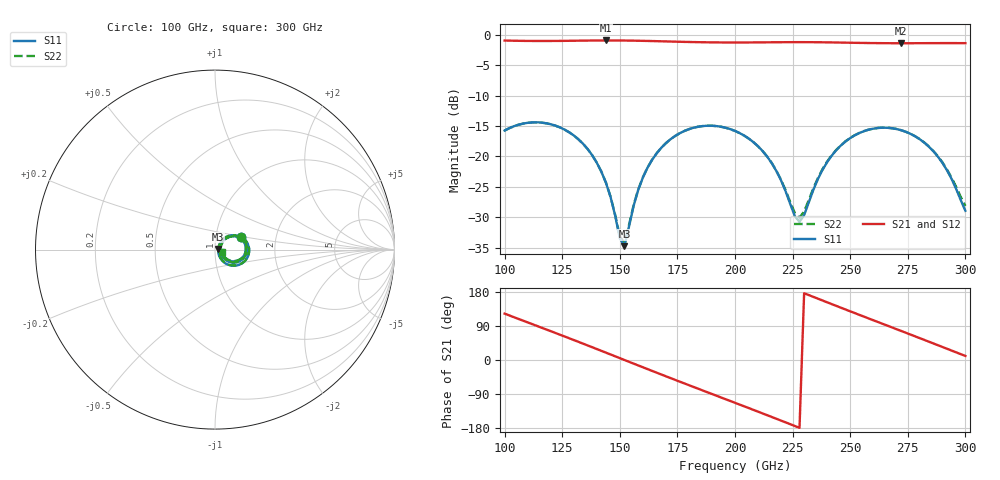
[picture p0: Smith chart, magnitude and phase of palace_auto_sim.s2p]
#  GHZ S DB R 50
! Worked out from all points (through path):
!   101 points, 100 GHz to 300 GHz, reference 50 ohm
!   highest |S21| = -0.93 dB at 144 GHz (marker M1); lowest = -1.4 dB at 272 GHz (marker M2)
!   group delay of S21, straight-line fit = 6.56 ps
!   lowest |S11| = -34.8 dB at 152 GHz (marker M3), VSWR 1.04, Z = 51.8 + j0.317 ohm
!   |S11| at or under -10 dB: start of sweep to end of sweep
!   |S22| runs from -34.2 to -14.4 dB; largest |S21 - S12| = 1e-13
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100  -15.75 25.5  -0.94 122.4  -0.94 122.4  -15.76 25.8
116  -14.44 -7.7  -1.02 85.4  -1.02 85.4  -14.45 -7.3
124  -15.22 -24.4  -1.00 66.8  -1.00 66.8  -15.23 -23.9
134  -17.91 -44.4  -0.96 43.3  -0.96 43.3  -17.91 -43.7
144  -24.36 -58.0  -0.93 19.4  -0.93 19.4  -24.34 -56.7
150  -33.46 -31.7  -0.94 4.9  -0.94 4.9  -33.10 -29.6
152  -34.77 9.6  -0.95 0.1  -0.95 0.1  -34.24 9.5
158  -25.51 53.5  -0.98 -14.3  -0.98 -14.3  -25.44 52.7
168  -18.59 42.2  -1.07 -38.2  -1.07 -38.2  -18.58 42.1
184  -15.12 11.3  -1.21 -75.8  -1.21 -75.8  -15.13 11.6
192  -15.02 -4.4  -1.25 -94.4  -1.25 -94.4  -15.02 -4.0
200  -15.81 -19.6  -1.27 -112.9  -1.27 -112.9  -15.82 -18.9
214  -20.06 -41.9  -1.24 -145.7  -1.24 -145.7  -20.04 -40.5
228  -30.75 2.3  -1.21 -179.0  -1.21 -179.0  -30.05 3.1
234  -25.52 44.2  -1.22 166.6  -1.22 166.6  -25.26 42.5
240  -20.94 45.2  -1.24 152.2  -1.24 152.2  -20.85 44.2
248  -17.54 33.9  -1.29 133.2  -1.29 133.2  -17.50 33.4
258  -15.61 15.3  -1.35 109.7  -1.35 109.7  -15.59 15.2
268  -15.36 -4.3  -1.39 86.3  -1.39 86.3  -15.35 -3.9
272  -15.69 -12.0  -1.39 76.9  -1.39 76.9  -15.67 -11.4
288  -20.01 -38.2  -1.37 39.2  -1.37 39.2  -19.95 -36.4
300  -28.96 -19.0  -1.38 10.6  -1.38 10.6  -28.13 -15.8
